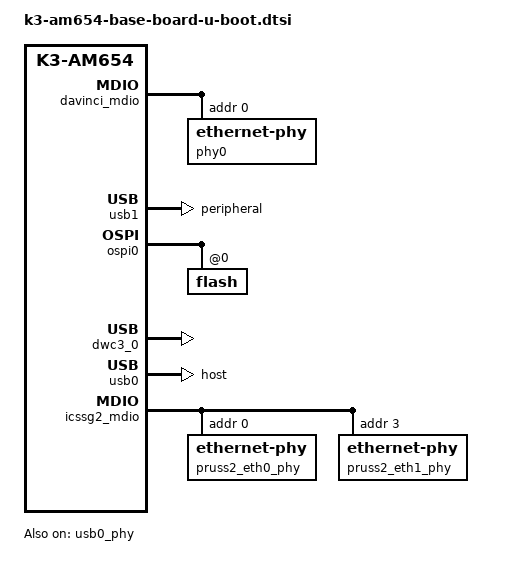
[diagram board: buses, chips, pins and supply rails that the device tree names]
// SPDX-License-Identifier: GPL-2.0
/*
 * Copyright (C) 2018 Texas Instruments Incorporated - http://www.ti.com/
 */

#include <dt-bindings/pinctrl/k3.h>
#include <dt-bindings/net/ti-dp83867.h>

/ {
	chosen {
		stdout-path = "serial2:115200n8";
	};

	aliases {
		serial2 = &main_uart0;
		ethernet0 = &cpsw_port1;
		usb0 = &usb0;
		usb1 = &usb1;
		spi0 = &ospi0;
		spi1 = &ospi1;
	};

	/* Dual Ethernet application node on PRU-ICSSG2 */
	pruss2_eth: pruss2_eth {
		compatible = "ti,am654-icssg-prueth";
		pinctrl-names = "default";
		pinctrl-0 = <&icssg2_rgmii_pins_default>;
		sram = <&icssg2_sram>;
		clocks = <&k3_clks 64 3>;
		clock-names = "mdio_fck";
		u-boot,dm-spl;

		prus = <&pru2_0>, <&rtu2_0>, <&pru2_1>, <&rtu2_1>;
		firmware-name = "ti-pruss/am65x-pru0-prueth-fw.elf",
				"ti-pruss/am65x-rtu0-prueth-fw.elf",
				"ti-pruss/am65x-pru1-prueth-fw.elf",
				"ti-pruss/am65x-rtu1-prueth-fw.elf";
		mii-g-rt = <&icssg2_mii_g_rt>;
		mii-rt = <&icssg2_mii_rt>;
		dma-coherent;
		dmas = <&mcu_udmap 0xc300>, /* egress slice 0 */
		       <&mcu_udmap 0xc301>, /* egress slice 0 */
		       <&mcu_udmap 0xc302>, /* egress slice 0 */
		       <&mcu_udmap 0xc303>, /* egress slice 0 */
		       <&mcu_udmap 0xc304>, /* egress slice 1 */
		       <&mcu_udmap 0xc305>, /* egress slice 1 */
		       <&mcu_udmap 0xc306>, /* egress slice 1 */
		       <&mcu_udmap 0xc307>, /* egress slice 1 */

		       <&mcu_udmap 0x4300>, /* ingress slice 0 */
		       <&mcu_udmap 0x4301>, /* ingress slice 1 */
		       <&mcu_udmap 0x4302>, /* mgmnt rsp slice 0 */
		       <&mcu_udmap 0x4303>; /* mgmnt rsp slice 1 */
		dma-names = "tx0-0", "tx0-1", "tx0-2", "tx0-3",
			    "tx1-0", "tx1-1", "tx1-2", "tx1-3",
			    "rx0", "rx1",
			    "rxmgm0", "rxmgm1";

		pruss2_emac0: ethernet-mii0 {
			phy-handle = <&pruss2_eth0_phy>;
			phy-mode = "rgmii-rxid";
			syscon-rgmii-delay = <&scm_conf 0x4120>;
			/* Filled in by bootloader */
			local-mac-address = [00 00 00 00 00 00];
		};

/*
 * Commenting out the second mii interface as the framework
 * supports one interface in a single probe
 * So either mii1 or mii2 can be used. In case mii1 is needed
 * uncomment mii1 and comment out mii0
		pruss2_emac1: ethernet-mii1 {
			phy-handle = <&pruss2_eth1_phy>;
			phy-mode = "rgmii-rxid";
			syscon-rgmii-delay = <&scm_conf 0x4124>;
			local-mac-address = [00 00 00 00 00 00];
		};
*/
	};
};

&cbass_main{
	u-boot,dm-spl;
	main-navss {
		u-boot,dm-spl;
	};
};

&cbass_mcu {
	u-boot,dm-spl;

	mcu-navss {
		u-boot,dm-spl;

		ringacc@2b800000 {
			u-boot,dm-spl;
			ti,dma-ring-reset-quirk;
		};

		dma-controller@285c0000 {
			u-boot,dm-spl;
		};
	};
};

&cbass_wakeup {
	u-boot,dm-spl;

	chipid@43000014 {
		u-boot,dm-spl;
	};
};

&secure_proxy_main {
	u-boot,dm-spl;
};

&dmsc {
	u-boot,dm-spl;
	k3_sysreset: sysreset-controller {
		compatible = "ti,sci-sysreset";
		u-boot,dm-spl;
	};
};

&k3_pds {
	u-boot,dm-spl;
};

&k3_clks {
	u-boot,dm-spl;
};

&k3_reset {
	u-boot,dm-spl;
};

&wkup_pmx0 {
	u-boot,dm-spl;

	wkup_i2c0_pins_default {
		u-boot,dm-spl;
	};
};

&main_pmx0 {
	u-boot,dm-spl;
	usb0_pins_default: usb0_pins_default {
		pinctrl-single,pins = <
			AM65X_IOPAD(0x02bc, PIN_OUTPUT, 0) /* (AD9) USB0_DRVVBUS */
		>;
		u-boot,dm-spl;
	};

	icssg2_rgmii_pins_default: icssg2_rgmii_pins_default {
		pinctrl-single,pins = <
			AM65X_IOPAD(0x00ac, PIN_INPUT , 2) /* (AH15) PRG2_PRU1_GPO0.PRG2_RGMII2_RD0 */
			AM65X_IOPAD(0x00b0, PIN_INPUT , 2) /* (AC16) PRG2_PRU1_GPO1.PRG2_RGMII2_RD1 */
			AM65X_IOPAD(0x00b4, PIN_INPUT , 2) /* (AD17) PRG2_PRU1_GPO2.PRG2_RGMII2_RD2 */
			AM65X_IOPAD(0x00b8, PIN_INPUT , 2) /* (AH14) PRG2_PRU1_GPO3.PRG2_RGMII2_RD3 */
			AM65X_IOPAD(0x00cc, PIN_OUTPUT , 2) /* (AD15) PRG2_PRU1_GPO8.PRG2_RGMII2_TD0 */
			AM65X_IOPAD(0x00d0, PIN_OUTPUT , 2) /* (AF14) PRG2_PRU1_GPO9.PRG2_RGMII2_TD1 */
			AM65X_IOPAD(0x00d4, PIN_OUTPUT , 2) /* (AC15) PRG2_PRU1_GPO10.PRG2_RGMII2_TD2 */
			AM65X_IOPAD(0x00d8, PIN_OUTPUT , 2) /* (AD14) PRG2_PRU1_GPO11.PRG2_RGMII2_TD3 */
			AM65X_IOPAD(0x00dc, PIN_INPUT , 2) /* (AE14) PRG2_PRU1_GPO16.PRG2_RGMII2_TXC */
			AM65X_IOPAD(0x00c4, PIN_OUTPUT , 2) /* (AC17) PRG2_PRU1_GPO6.PRG2_RGMII2_TX_CTL */
			AM65X_IOPAD(0x00c0, PIN_INPUT , 2) /* (AG15) PRG2_PRU1_GPO5.PRG2_RGMII2_RXC */
			AM65X_IOPAD(0x00bc, PIN_INPUT , 2) /* (AG14) PRG2_PRU1_GPO4.PRG2_RGMII2_RX_CTL */

			AM65X_IOPAD(0x0078, PIN_INPUT , 2) /* (AF18) PRG2_PRU0_GPO0.PRG2_RGMII1_RD0 */
			AM65X_IOPAD(0x007c, PIN_INPUT , 2) /* (AE18) PRG2_PRU0_GPO1.PRG2_RGMII1_RD1 */
			AM65X_IOPAD(0x0080, PIN_INPUT , 2) /* (AH17) PRG2_PRU0_GPO2.PRG2_RGMII1_RD2 */
			AM65X_IOPAD(0x0084, PIN_INPUT , 2) /* (AG18) PRG2_PRU0_GPO3.PRG2_RGMII1_RD3 */
			AM65X_IOPAD(0x0098, PIN_OUTPUT , 2) /* (AH16) PRG2_PRU0_GPO8.PRG2_RGMII1_TD0 */
			AM65X_IOPAD(0x009c, PIN_OUTPUT , 2) /* (AG16) PRG2_PRU0_GPO9.PRG2_RGMII1_TD1 */
			AM65X_IOPAD(0x00a0, PIN_OUTPUT , 2) /* (AF16) PRG2_PRU0_GPO10.PRG2_RGMII1_TD2 */
			AM65X_IOPAD(0x00a4, PIN_OUTPUT , 2) /* (AE16) PRG2_PRU0_GPO11.PRG2_RGMII1_TD3 */
			AM65X_IOPAD(0x00a8, PIN_INPUT , 2) /* (AD16) PRG2_PRU0_GPO16.PRG2_RGMII1_TXC */
			AM65X_IOPAD(0x0090, PIN_OUTPUT , 2) /* (AE17) PRG2_PRU0_GPO6.PRG2_RGMII1_TX_CTL */
			AM65X_IOPAD(0x008c, PIN_INPUT , 2) /* (AF17) PRG2_PRU0_GPO5.PRG2_RGMII1_RXC */
			AM65X_IOPAD(0x0088, PIN_INPUT , 2) /* (AG17) PRG2_PRU0_GPO4.PRG2_RGMII1_RX_CTL */
			/* HACK to get MDIO Pins in the right state */
			AM65X_IOPAD(0x0094, PIN_INPUT , 2) /* (AC19) PRG2_PRU0_GPO7.PRG2_MDIO0_MDIO */
			AM65X_IOPAD(0x00c8, PIN_OUTPUT , 2) /* (AE15) PRG2_PRU1_GPO7.PRG2_MDIO0_MDC */
		>;
		u-boot,dm-spl;
	};

	icssg2_mdio_pins_default: icssg2_mdio_pins_default {
		pinctrl-single,pins = <
			AM65X_IOPAD(0x0094, PIN_INPUT , 2) /* (AC19) PRG2_PRU0_GPO7.PRG2_MDIO0_MDIO */
			AM65X_IOPAD(0x00c8, PIN_OUTPUT , 2) /* (AE15) PRG2_PRU1_GPO7.PRG2_MDIO0_MDC */
		>;
		u-boot,dm-spl;
	};
};

&main_uart0_pins_default {
	u-boot,dm-spl;
};

&main_pmx1 {
	u-boot,dm-spl;
};

&wkup_pmx0 {
	mcu-fss0-ospi0-pins-default {
		u-boot,dm-spl;
	};
};

&main_uart0 {
	u-boot,dm-spl;
};

&main_mmc0_pins_default {
	u-boot,dm-spl;
};

&main_mmc1_pins_default {
	u-boot,dm-spl;
};

&sdhci0 {
	u-boot,dm-spl;
};

&sdhci1 {
	u-boot,dm-spl;
};

&davinci_mdio {
	phy0: ethernet-phy@0 {
		reg = <0>;
		/* TODO: phy reset: TCA9555RTWR(i2c:0x21)[p04].GPIO_MCU_RGMII_RSTN */
		ti,rx-internal-delay = <DP83867_RGMIIDCTL_2_00_NS>;
		ti,fifo-depth = <DP83867_PHYCR_FIFO_DEPTH_4_B_NIB>;
	};
};

&mcu_cpsw {
	reg = <0x0 0x46000000 0x0 0x200000>,
	      <0x0 0x40f00200 0x0 0x2>;
	reg-names = "cpsw_nuss", "mac_efuse";
	/delete-property/ ranges;

	cpsw-phy-sel@40f04040 {
		compatible = "ti,am654-cpsw-phy-sel";
		reg= <0x0 0x40f04040 0x0 0x4>;
		reg-names = "gmii-sel";
	};
};

&wkup_i2c0 {
	u-boot,dm-spl;
};

&usb1 {
	dr_mode = "peripheral";
};

&fss {
	u-boot,dm-spl;
};

&ospi0 {
	u-boot,dm-spl;

	 flash@0{
		u-boot,dm-spl;
	};
};

&dwc3_0 {
	status = "okay";
	u-boot,dm-spl;
};

&usb0_phy {
	status = "okay";
	u-boot,dm-spl;
};

&usb0 {
	pinctrl-names = "default";
	pinctrl-0 = <&usb0_pins_default>;
	dr_mode = "host";
	u-boot,dm-spl;
};

&scm_conf {
	u-boot,dm-spl;
};

&msmc_ram {
	icssg0_sram: icssg0-sram@40000 {
		reg = <0x40000 0x10000>;
	};
	icssg1_sram: icssg1-sram@50000 {
		reg = <0x50000 0x10000>;
	};
	icssg2_sram: icssg2-sram@60000 {
		reg = <0x60000 0x10000>;
	};
};

&icssg2_mdio{
	status = "okay";
	pinctrl-names = "default";
	pinctrl-0 = <&icssg2_mdio_pins_default>;

	pruss2_eth0_phy: ethernet-phy@0 {
		reg = <0>;
		ti,rx-internal-delay = <DP83867_RGMIIDCTL_2_00_NS>;
		ti,fifo-depth = <DP83867_PHYCR_FIFO_DEPTH_4_B_NIB>;
	};

	pruss2_eth1_phy: ethernet-phy@3 {
		reg = <3>;
		ti,rx-internal-delay = <DP83867_RGMIIDCTL_2_00_NS>;
		ti,fifo-depth = <DP83867_PHYCR_FIFO_DEPTH_4_B_NIB>;
	};
};
